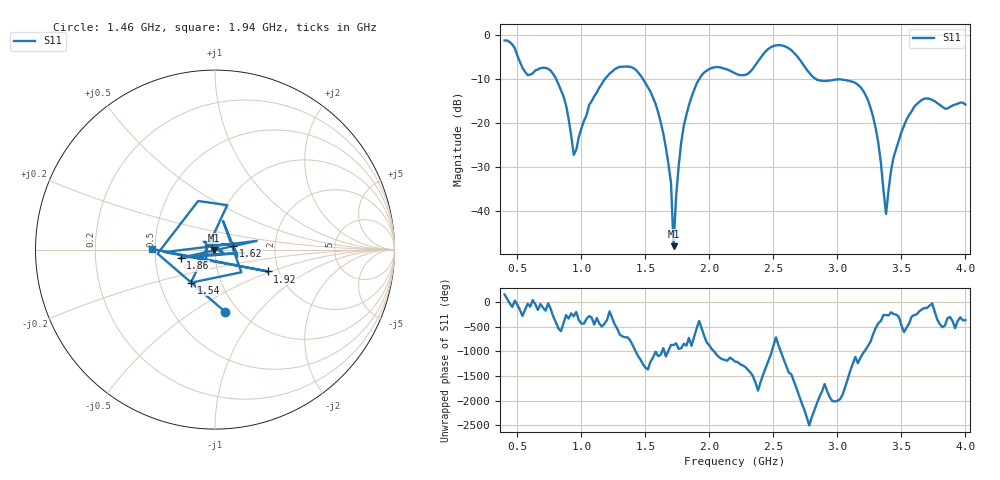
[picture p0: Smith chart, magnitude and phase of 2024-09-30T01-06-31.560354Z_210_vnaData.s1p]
!Created with skrf (http://scikit-rf.org).
# Hz S RI R 50.0
!freq ReS11 ImS11
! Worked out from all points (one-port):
!   181 points, 400 MHz to 4 GHz, reference 50 ohm
!   lowest |S11| = -47.9 dB at 1.72 GHz (marker M1), VSWR 1.01, Z = 49.6 - j0.187 ohm
!   |S11| at or under -10 dB: 803.4 MHz to 1.182 GHz (378.6 MHz wide, 38.1 % of centre); 1.482 GHz to 1.919 GHz (437 MHz wide, 25.7 % of centre); 3.02 GHz to end of sweep (the widest 3 of 4)
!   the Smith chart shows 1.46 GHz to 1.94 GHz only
!   S11 on the Smith chart (normalised r, x): 1.46 GHz: 0.87, -0.69; 1.54 GHz: 0.72, -0.28; 1.62 GHz: 1.22, +0.06; 1.86 GHz: 0.68, -0.07; 1.92 GHz: 1.75, -0.47; 1.94 GHz: 0.48, +0.00
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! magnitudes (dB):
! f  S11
! 400 MHz  -1.2
! 580 MHz  -9.1
! 760 MHz  -8.0
! 860 MHz  -13.9
! 940 MHz  -27.2
! 1.06 GHz  -15.9
! 1.3 GHz  -7.2
! 1.46 GHz  -9.1
! 1.54 GHz  -12.8
! 1.62 GHz  -19.8
! 1.7 GHz  -33.5
! 1.72 GHz  -47.9
! 1.76 GHz  -29.7
! 1.8 GHz  -20.6
! 1.86 GHz  -14.1
! 1.92 GHz  -10.0
! 1.94 GHz  -9.1
! 2.2 GHz  -8.7
! 2.5 GHz  -2.5
! 2.66 GHz  -4.0
! 2.84 GHz  -10.1
! 3.1 GHz  -10.4
! 3.28 GHz  -18.7
! 3.38 GHz  -40.6
! 3.44 GHz  -27.6
! 3.56 GHz  -18.2
! 3.68 GHz  -14.4
! 4 GHz  -15.7
